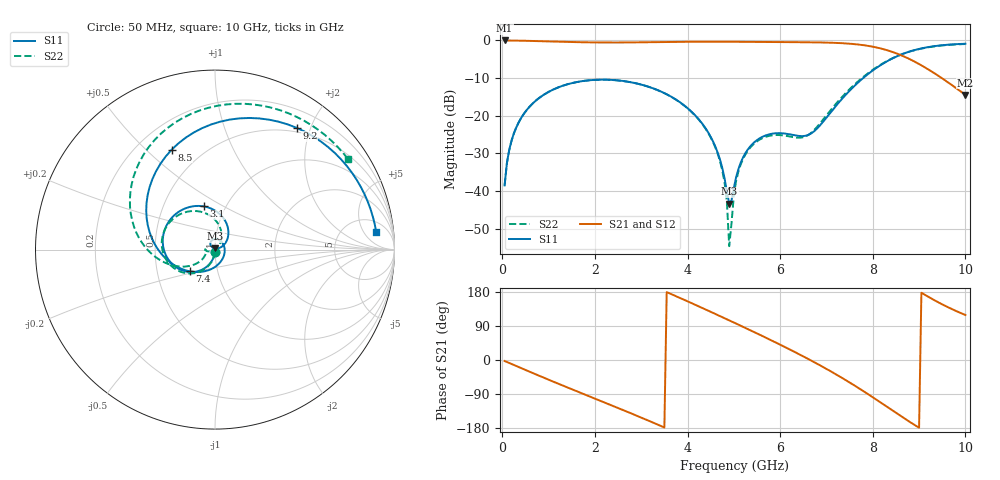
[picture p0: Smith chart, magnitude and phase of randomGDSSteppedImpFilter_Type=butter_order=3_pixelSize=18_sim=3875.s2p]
! freq	dB(S11)	phase(S11)	dB(S12)	phase(S12)
!  dB(S21)	phase(S21)	dB(S22)	phase(S22)
!S-par simulation data
#  GHz  S  DB  R 50
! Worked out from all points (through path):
!   200 points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, 50 MHz to 10 GHz, reference 50 ohm
!   highest |S21| = -0.01 dB at 50 MHz (marker M1); lowest = -14.5 dB at 10 GHz (marker M2)
!   group delay of S21, straight-line fit = 167 ps
!   lowest |S11| = -43.4 dB at 4.9 GHz (marker M3), VSWR 1.01, Z = 50.2 + j0.636 ohm
!   |S11| at or under -10 dB: start of sweep to 7.791 GHz
!   |S22| runs from -54.6 to -0.9 dB; largest |S21 - S12| = 0
!   S11 on the Smith chart (normalised r, x): 50 MHz: 1.00, -0.02; 3.1 GHz: 0.79, +0.41; 7.4 GHz: 0.73, -0.18; 8.5 GHz: 0.34, +0.60; 9.2 GHz: 0.44, +1.79; 10 GHz: 9, +10
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0.05  -38.49 -92.2  -0.01 -2.7  -0.01 -2.7  -38.49 -92.0
0.2  -26.60 -101.1  -0.03 -10.6  -0.03 -10.6  -26.59 -100.3
0.5  -18.91 -117.7  -0.09 -26.3  -0.09 -26.3  -18.91 -115.8
1.75  -10.76 176.2  -0.49 -89.5  -0.49 -89.5  -10.76 -176.5
3.1  -12.07 104.8  -0.48 -157.1  -0.48 -157.1  -12.08 120.2
3.4  -13.42 88.1  -0.43 -172.8  -0.43 -172.8  -13.44 105.9
3.95  -17.46 56.7  -0.35 157.6  -0.35 157.6  -17.51 79.5
4.55  -26.81 24.5  -0.33 124.4  -0.33 124.4  -26.98 51.1
4.8  -36.65 26.3  -0.34 110.3  -0.34 110.3  -37.75 40.1
4.85  -40.15 38.5  -0.34 107.5  -0.34 107.5  -42.89 38.5
4.9  -43.36 68.7  -0.35 104.6  -0.35 104.6  -54.63 65.7
5.05  -36.29 137.5  -0.36 96.1  -0.36 96.1  -37.25 -152.4
5.25  -29.92 136.4  -0.38 84.6  -0.38 84.6  -30.27 -160.3
5.55  -26.05 117.6  -0.40 67.2  -0.40 67.2  -26.38 -171.3
6.2  -24.91 53.8  -0.45 28.3  -0.45 28.3  -25.49 179.6
6.7  -24.44 -34.4  -0.50 -3.4  -0.50 -3.4  -24.20 -151.8
7.4  -14.64 -139.2  -0.78 -51.9  -0.78 -51.9  -14.19 -151.0
7.85  -9.40 174.4  -1.35 -86.3  -1.35 -86.3  -9.17 -175.2
8.35  -5.25 127.0  -2.75 -127.0  -2.75 -127.0  -5.19 149.5
8.5  -4.34 113.4  -3.39 -139.4  -3.39 -139.4  -4.31 138.1
9.2  -1.76 56.2  -7.70 166.7  -7.70 166.7  -1.82 85.5
10  -0.88 6.2  -14.47 118.8  -14.47 118.8  -0.95 34.1
